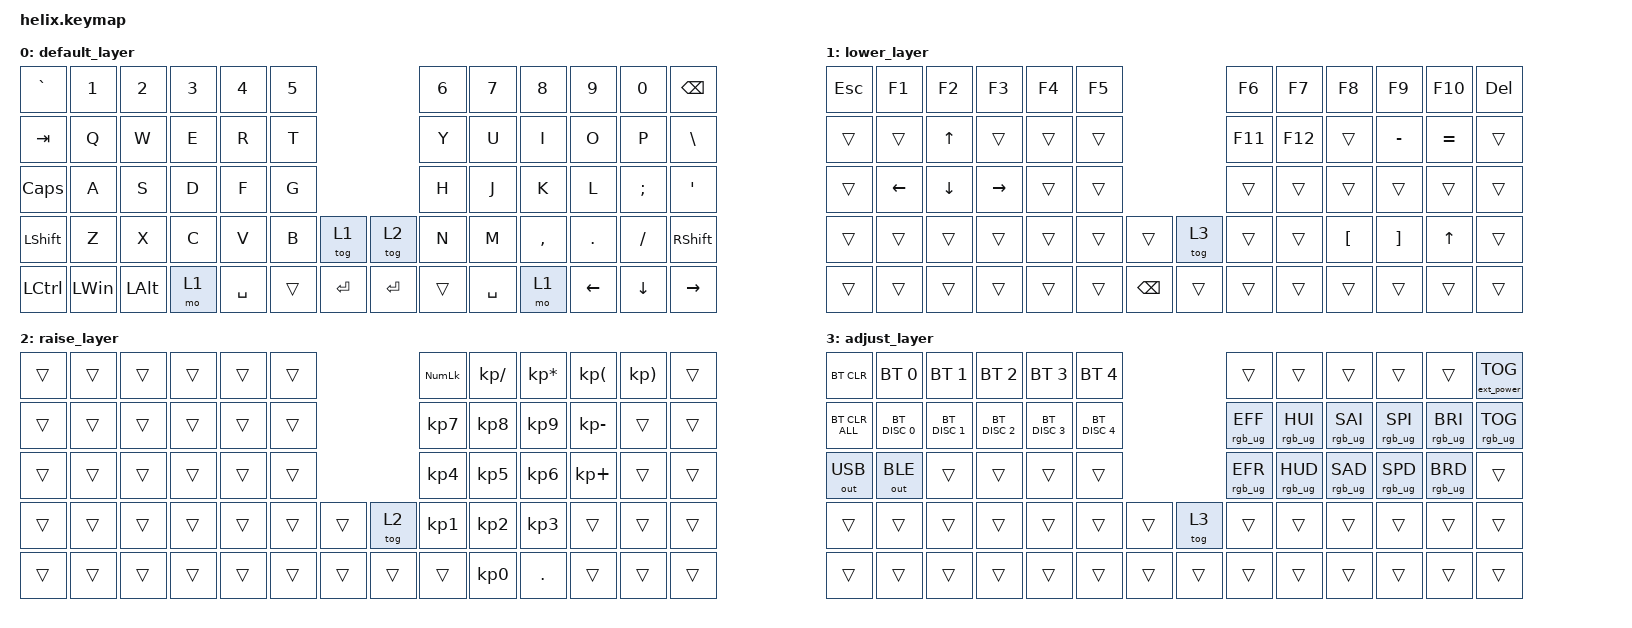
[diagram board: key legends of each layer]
#include <behaviors.dtsi>
#include <dt-bindings/zmk/bt.h>
#include <dt-bindings/zmk/ext_power.h>
#include <dt-bindings/zmk/keys.h>
#include <dt-bindings/zmk/outputs.h>
#include <dt-bindings/zmk/rgb.h>

/ {
    keymap {
        compatible = "zmk,keymap";

        default_layer {
            // ---------------------------------------------------------------------------------------------------------------------------------
            // | GRAVE  |   1    |   2    |   3    |   4    |   5    |                                      |   6    |   7    |   8    |   9    |   0    |  DEL   |
            // |  TAB   |   Q    |   W    |   E    |   R    |   T    |                                      |   Y    |   U    |   I    |   O    |   P    |  BSPC  |
            // |  CTRL  |   A    |   S    |   D    |   F    |   G    |                                      |   H    |   J    |   K    |   L    |   ;    |   '    |
            // |  SHIFT |   Z    |   X    |   C    |   V    |   B    |  LBKT  |                    |  RBKT  |   N    |   M    |   ,    |   .    |   /    |  RET   |
            // | ADJUST |  ESC   |  ALT   |  LGUI  | EISUU  | LOWER  | SPACE  |                    |  SPACE | RAISE  |  KANA  |  LEFT  |  DOWN  |  UP    |  RIGHT |

            bindings = <
&kp GRAVE         &kp N1        &kp N2    &kp N3  &kp N4     &kp N5                          &kp N6  &kp N7     &kp N8     &kp N9          &kp N0          &kp BACKSPACE
&kp TAB           &kp Q         &kp W     &kp E   &kp R      &kp T                           &kp Y   &kp U      &kp I      &kp O           &kp P           &kp BACKSLASH
&kp CAPSLOCK      &kp A         &kp S     &kp D   &kp F      &kp G                           &kp H   &kp J      &kp K      &kp L           &kp SEMI        &kp SQT
&kp LSHFT         &kp Z         &kp X     &kp C   &kp V      &kp B   &tog 1       &tog 2     &kp N   &kp M      &kp COMMA  &kp PERIOD      &kp SLASH       &kp RIGHT_SHIFT
&kp LEFT_CONTROL  &kp LEFT_WIN  &kp LALT  &mo 1   &kp SPACE  &trans  &kp ENTER    &kp ENTER  &trans  &kp SPACE  &mo 1      &kp LEFT_ARROW  &kp DOWN_ARROW  &kp RIGHT
            >;
        };

        lower_layer {
            // ---------------------------------------------------------------------------------------------------------------------------------
            // |      |      |      |      |      |      |                                  |      |      |      |      |      |      |
            // |  ~   |  !   |  @   |  #   |  $   |  %   |                                  |  ^   |  &   |  *   |  (   |  )   |      |
            // |      |      |      |      |      |      |                                  |      |  _   |  +   |  {   |  }   | PIPE |
            // |      |      |      |      |      |      |  (   |                    |  )   |      |      |      | HOME | END  |      |
            // |      |      |      |      |      |      |      |                    |      |      |      |      |      |      |      |

            bindings = <
&kp ESCAPE  &kp F1          &kp F2          &kp F3           &kp F4  &kp F5                           &kp F6   &kp F7   &kp F8            &kp F9             &kp F10       &kp DELETE
&trans      &trans          &kp UP_ARROW    &trans           &trans  &trans                           &kp F11  &kp F12  &trans            &kp MINUS          &kp EQUAL     &trans
&trans      &kp LEFT_ARROW  &kp DOWN_ARROW  &kp RIGHT_ARROW  &trans  &trans                           &trans   &trans   &trans            &trans             &trans        &trans
&trans      &trans          &trans          &trans           &trans  &trans  &trans           &tog 3  &trans   &trans   &kp LEFT_BRACKET  &kp RIGHT_BRACKET  &kp UP_ARROW  &trans
&trans      &trans          &trans          &trans           &trans  &trans  &kp BACKSPACE    &trans  &trans   &trans   &trans            &trans             &trans        &trans
            >;
        };

        raise_layer {
            // ---------------------------------------------------------------------------------------------------------------------------------
            // |       |       |       |       |       |       |                                    |       |       |       |       |       |       |
            // |   `   |   1   |   2   |   3   |   4   |   5   |                                    |   6   |   7   |   8   |   9   |   0   |  DEL  |
            // |       |  F1   |  F2   |  F3   |  F4   |  F5   |                                    |  F6   |   -   |   =   |   [   |   ]   |   \   |
            // |       |  F7   |  F8   |  F9   |  F10  |  F11  |       |                    |       |  F12  |       | PSCRN | PG_DN | PG_UP |       |
            // |       |       |       |       |       |       |       |                    |       |       |       | NEXT  | VOL-  | VOL+  | PLAY  |

            bindings = <
&trans  &trans  &trans  &trans  &trans  &trans                    &kp KP_NUM  &kp KP_DIVIDE  &kp KP_ASTERISK  &kp KP_LEFT_PARENTHESIS  &kp KP_RIGHT_PARENTHESIS  &trans
&trans  &trans  &trans  &trans  &trans  &trans                    &kp KP_N7   &kp KP_N8      &kp KP_N9        &kp KP_MINUS             &trans                    &trans
&trans  &trans  &trans  &trans  &trans  &trans                    &kp KP_N4   &kp KP_N5      &kp KP_N6        &kp KP_PLUS              &trans                    &trans
&trans  &trans  &trans  &trans  &trans  &trans  &trans    &tog 2  &kp KP_N1   &kp KP_N2      &kp KP_N3        &trans                   &trans                    &trans
&trans  &trans  &trans  &trans  &trans  &trans  &trans    &trans  &trans      &kp KP_N0      &kp PERIOD       &trans                   &trans                    &trans
            >;
        };

        adjust_layer {
            // ---------------------------------------------------------------------------------------------------------------------------------
            // |    `     |    !     |    @     |    #     |    $     |    %     |                                          |    ^     |    &     |    *     |    (     |    )     |  EP TOG  |
            // |  BT CLR  | BT SEL0  | BT SEL1  | BT SEL2  | BGT SEL3 | BT SEL4  |                                          | RGB EFF+ | RGB HUE+ | RGB SAT+ | RGB SPD+ | RGB BRI+ | RGB TOG  |
            // |  BT NXT  | OUT TOG  | OUT USB  | OUT BLE  |          |          |                                          | RGB EFF- | RGB HUE- | RGB SAT- | RGB SPD- | RGB BRI- |          |
            // |  BT PRV  |          |          |          |          |          |    {     |                    |    }     |          |          |          |          |          |          |
            // |          |          |          |          |          |          |          |                    |          |          |          |          |          |          |          |

            bindings = <
&bt BT_CLR      &bt BT_SEL 0   &bt BT_SEL 1   &bt BT_SEL 2   &bt BT_SEL 3   &bt BT_SEL 4                     &trans           &trans           &trans           &trans           &trans           &ext_power EP_TOG
&bt BT_CLR_ALL  &bt BT_DISC 0  &bt BT_DISC 1  &bt BT_DISC 2  &bt BT_DISC 3  &bt BT_DISC 4                    &rgb_ug RGB_EFF  &rgb_ug RGB_HUI  &rgb_ug RGB_SAI  &rgb_ug RGB_SPI  &rgb_ug RGB_BRI  &rgb_ug RGB_TOG
&out OUT_USB    &out OUT_BLE   &trans         &trans         &trans         &trans                           &rgb_ug RGB_EFR  &rgb_ug RGB_HUD  &rgb_ug RGB_SAD  &rgb_ug RGB_SPD  &rgb_ug RGB_BRD  &trans
&trans          &trans         &trans         &trans         &trans         &trans         &trans    &tog 3  &trans           &trans           &trans           &trans           &trans           &trans
&trans          &trans         &trans         &trans         &trans         &trans         &trans    &trans  &trans           &trans           &trans           &trans           &trans           &trans
            >;
        };
    };
};
